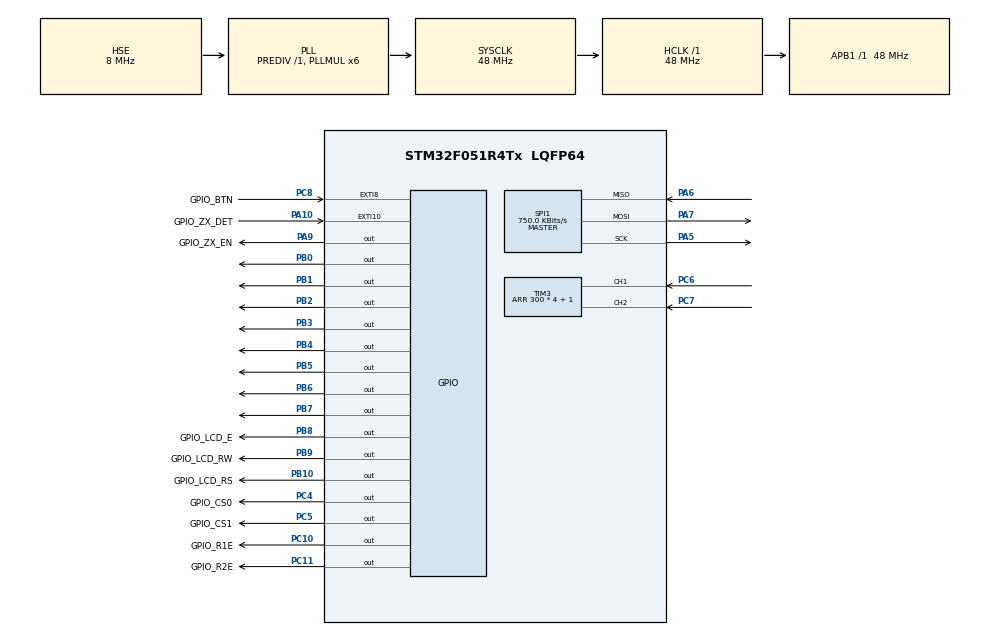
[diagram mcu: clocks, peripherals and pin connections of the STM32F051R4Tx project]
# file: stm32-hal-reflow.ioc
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Mcu.Family=STM32F0
Mcu.Name=STM32F051R4Tx
Mcu.Package=LQFP64
NVIC.EXTI4_15_IRQn=true\:3\:0\:true\:true\:true\:3\:true\:true\:true
NVIC.SPI1_IRQn=true\:1\:0\:true\:true\:true\:2\:true\:true\:true
NVIC.TIM14_IRQn=true\:0\:0\:false\:true\:true\:1\:true\:true\:true
NVIC.TIM17_IRQn=true\:2\:0\:true\:true\:true\:4\:true\:true\:true
NVIC.TIM6_DAC_IRQn=true\:0\:0\:false\:false\:true\:true\:true\:true
PA10.GPIO_Label=GPIO_ZX_DET
PA10.Signal=GPXTI10
PA13.Mode=Serial_Wire
PA13.Signal=SYS_SWDIO
PA14.Mode=Serial_Wire
PA14.Signal=SYS_SWCLK
PA5.GPIO_Speed=GPIO_SPEED_FREQ_LOW
PA5.Mode=Full_Duplex_Master
PA5.Signal=SPI1_SCK
PA6.GPIO_Speed=GPIO_SPEED_FREQ_LOW
PA6.Mode=Full_Duplex_Master
PA6.Signal=SPI1_MISO
PA7.GPIO_Speed=GPIO_SPEED_FREQ_LOW
PA7.Mode=Full_Duplex_Master
PA7.Signal=SPI1_MOSI
PA9.GPIO_Label=GPIO_ZX_EN
PA9.PinState=GPIO_PIN_SET
PA9.Signal=GPIO_Output
PB0.Signal=GPIO_Output
PB1.Signal=GPIO_Output
PB10.GPIO_Label=GPIO_LCD_RS
PB10.Signal=GPIO_Output
PB2.Signal=GPIO_Output
PB3.Signal=GPIO_Output
PB4.Signal=GPIO_Output
PB5.Signal=GPIO_Output
PB6.Signal=GPIO_Output
PB7.Signal=GPIO_Output
PB8.GPIO_Label=GPIO_LCD_E
PB8.Signal=GPIO_Output
PB9.GPIO_Label=GPIO_LCD_RW
PB9.Signal=GPIO_Output
PC10.GPIO_Label=GPIO_R1E
PC10.Signal=GPIO_Output
PC11.GPIO_Label=GPIO_R2E
PC11.Signal=GPIO_Output
PC4.GPIO_Label=GPIO_CS0
PC4.Signal=GPIO_Output
PC5.GPIO_Label=GPIO_CS1
PC5.Signal=GPIO_Output
PC6.Signal=S_TIM3_CH1
PC7.Signal=S_TIM3_CH2
PC8.GPIO_Label=GPIO_BTN
PC8.Signal=GPXTI8
PF0-OSC_IN.Mode=HSE-External-Oscillator
PF0-OSC_IN.Signal=RCC_OSC_IN
PF1-OSC_OUT.Mode=HSE-External-Oscillator
PF1-OSC_OUT.Signal=RCC_OSC_OUT
ProjectManager.HeapSize=0x200
ProjectManager.StackSize=0x400
ProjectManager.TargetToolchain=Makefile
RCC.AHBFreq_Value=48000000
RCC.APB1Freq_Value=48000000
RCC.APB1TimFreq_Value=48000000
RCC.HCLKFreq_Value=48000000
RCC.PLLMUL=RCC_PLL_MUL6
RCC.PLLSourceVirtual=RCC_PLLSOURCE_HSE
RCC.SYSCLKFreq_VALUE=48000000
RCC.SYSCLKSource=RCC_SYSCLKSOURCE_PLLCLK
SH.S_TIM3_CH1.0=TIM3_CH1,Encoder_Interface
SH.S_TIM3_CH2.0=TIM3_CH2,Encoder_Interface
SPI1.BaudRatePrescaler=SPI_BAUDRATEPRESCALER_64
SPI1.CalculateBaudRate=750.0 KBits/s
SPI1.DataSize=SPI_DATASIZE_8BIT
SPI1.Direction=SPI_DIRECTION_2LINES
SPI1.Mode=SPI_MODE_MASTER
SPI1.NSSPMode=SPI_NSS_PULSE_DISABLE
SPI1.VirtualType=VM_MASTER
TIM14.Period=100 - 1
TIM14.Prescaler=4800 - 1
TIM17.Period=47999
TIM17.Prescaler=999
TIM3.AutoReloadPreload=TIM_AUTORELOAD_PRELOAD_ENABLE
TIM3.EncoderMode=TIM_ENCODERMODE_TI12
TIM3.IC1Filter=10
TIM3.IC1Polarity=TIM_ICPOLARITY_FALLING
TIM3.IC1Prescaler=TIM_ICPSC_DIV1
TIM3.IC2Filter=10
TIM3.IC2Polarity=TIM_ICPOLARITY_FALLING
TIM3.IC2Prescaler=TIM_ICPSC_DIV1
TIM3.Period=300 * 4 + 1
TIM3.TIM_MasterSlaveMode=TIM_MASTERSLAVEMODE_DISABLE
TIM6.AutoReloadPreload=TIM_AUTORELOAD_PRELOAD_ENABLE
TIM6.Period=19999
TIM6.Prescaler=47
VP_TIM14_VS_ClockSourceINT.Mode=Enable_Timer
VP_TIM17_VS_ClockSourceINT.Mode=Enable_Timer
VP_TIM6_VS_ClockSourceINT.Mode=Enable_Timer
board=custom

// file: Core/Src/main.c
/* USER CODE BEGIN Header */
/**
 ******************************************************************************
 * @file           : main.c
 * @brief          : Main program body
 ******************************************************************************
 * @attention
 *
 * <h2><center>&copy; Copyright (c) 2021 STMicroelectronics.
 * All rights reserved.</center></h2>
 *
 * This software component is licensed by ST under BSD 3-Clause license,
 * the "License"; You may not use this file except in compliance with the
 * License. You may obtain a copy of the License at:
 *                        opensource.org/licenses/BSD-3-Clause
 *
 ******************************************************************************
 */
/* USER CODE END Header */
#include "main.h"

/* USER CODE BEGIN Includes */
#include "lcd.h"
#include <stdio.h>
#include <string.h>

/* USER CODE END Includes */

 SPI_HandleTypeDef hspi1;

TIM_HandleTypeDef htim3;
TIM_HandleTypeDef htim6;
TIM_HandleTypeDef htim14;
TIM_HandleTypeDef htim17;

/* USER CODE BEGIN PV */
static uint8_t     tcSPIData[4]; // 32-bits
static LCD_TypeDef LCD = {0};

// static uint8_t              TestState = 0x00;
static uint8_t  OvenControlEnable = 0x00;
static int16_t  OvenTemperature   = 0x00;
static int16_t  SetPoint = 0; // No temperature target in idle state
static uint8_t  HeatingActive   = 0; // Mirror of last commanded SSR state
static int16_t  DutyAccumulator = 0; // Bresenham accumulator (0..ZX_COUNT_MAX)
static volatile uint8_t ZxFallbackActive = 0; // 1 if ZX detector has stopped firing

static uint8_t             DoReflow = 0;
static uint16_t            ReflowTime  = 0;
static uint8_t             ReflowIndex = 0;
static ReflowState_TypeDef ReflowState = REFLOW_STATE_RAMPING;
static uint16_t            HoldTimer   = 0;
static uint8_t             SystemReady =
    0; // Flag to indicate system is ready for operation
static uint8_t WaitingForStartTemp =
    0; // Flag to indicate waiting for start temperature

static uint8_t  SelectedProfileIndex = 0;   // Index user can change while idle
static uint8_t  ActiveProfileIndex   = 0;   // Snapshot taken at button press
static uint16_t EncoderPrev          = 0;   // Last debounced encoder count (0..300)
static uint8_t  EditingCustomPeak    = 0;   // 1 while user is dialing in custom peak
static uint16_t CustomPeakTemp       = 235; // °C, range CUSTOM_PEAK_MIN..MAX

// Lead-free profile (SnAgCu, e.g. SMD291SNL / NC191SNL50)
// http://www.chipquik.com/datasheets/NC191SNL50.pdf
static const ReflowProfile_TypeDef ReflowPhases_PbFree[] = {
    // Preheat ramp: 50°C to 150°C over 90 seconds
    {.StartTemperature  = 50,
     .TargetTemperature = 150,
     .RampTimeSeconds   = 90,
     .HoldTimeSeconds   = 0,
     .Type              = REFLOW_PHASE_RAMP},
    // Preheat soak: Hold at 150°C for 60 seconds
    {.StartTemperature  = 150,
     .TargetTemperature = 150,
     .RampTimeSeconds   = 0,
     .HoldTimeSeconds   = 60,
     .Type              = REFLOW_PHASE_HOLD},
    // Ramp to reflow: 150°C to 217°C over 30 seconds
    {.StartTemperature  = 150,
     .TargetTemperature = 217,
     .RampTimeSeconds   = 30,
     .HoldTimeSeconds   = 0,
     .Type              = REFLOW_PHASE_RAMP},
    // Reflow peak: 217°C to 249°C over 30 seconds, hold for 10 seconds
    {.StartTemperature  = 217,
     .TargetTemperature = 249,
     .RampTimeSeconds   = 30,
     .HoldTimeSeconds   = 10,
     .Type              = REFLOW_PHASE_RAMP},
    // Cooling: Let natural cooling take over
    {.StartTemperature  = 249,
     .TargetTemperature = 50,
     .RampTimeSeconds   = 0,
     .HoldTimeSeconds   = 0,
     .Type              = REFLOW_PHASE_RAMP}};

// Leaded profile (Sn63/Pb37, e.g. SMD291AX)
// X-axis times: 30s -> 100°C, 120s -> 150°C, 150s -> 183°C, 210s -> 235°C
// (hold 10s), cool by 240s.
static const ReflowProfile_TypeDef ReflowPhases_Leaded[] = {
    // Preheat: 50°C to 100°C over 30 seconds
    {.StartTemperature  = 50,
     .TargetTemperature = 100,
     .RampTimeSeconds   = 30,
     .HoldTimeSeconds   = 0,
     .Type              = REFLOW_PHASE_RAMP},
    // Soak ramp: 100°C to 150°C over 90 seconds
    {.StartTemperature  = 100,
     .TargetTemperature = 150,
     .RampTimeSeconds   = 90,
     .HoldTimeSeconds   = 0,
     .Type              = REFLOW_PHASE_RAMP},
    // Activation: 150°C to 183°C over 30 seconds (crosses Sn63/Pb37 eutectic)
    {.StartTemperature  = 150,
     .TargetTemperature = 183,
     .RampTimeSeconds   = 30,
     .HoldTimeSeconds   = 0,
     .Type              = REFLOW_PHASE_RAMP},
    // Reflow peak: 183°C to 235°C over 60 seconds, hold for 10 seconds
    {.StartTemperature  = 183,
     .TargetTemperature = 235,
     .RampTimeSeconds   = 60,
     .HoldTimeSeconds   = 10,
     .Type              = REFLOW_PHASE_RAMP},
    // Cooling: Let natural cooling take over
    {.StartTemperature  = 235,
     .TargetTemperature = 50,
     .RampTimeSeconds   = 0,
     .HoldTimeSeconds   = 0,
     .Type              = REFLOW_PHASE_RAMP}};

// Custom profile: leaded-style soak (50->100->150°C, 30s + 90s) plus a
// user-selectable peak between CUSTOM_PEAK_MIN..MAX. Held in BSS because the
// peak segment is regenerated each time reflow starts.
#define CUSTOM_PEAK_MIN  150
#define CUSTOM_PEAK_MAX  300
#define CUSTOM_PEAK_STEP 5
static ReflowProfile_TypeDef ReflowPhases_Custom[4];

static const ReflowProfileSet_TypeDef ReflowProfiles[] = {
    {.Name       = "Pb-Free",
     .Phases     = ReflowPhases_PbFree,
     .PhaseCount = sizeof(ReflowPhases_PbFree) / sizeof(ReflowPhases_PbFree[0])},
    {.Name       = "Leaded",
     .Phases     = ReflowPhases_Leaded,
     .PhaseCount = sizeof(ReflowPhases_Leaded) / sizeof(ReflowPhases_Leaded[0])},
    {.Name       = "Custom",
     .Phases     = ReflowPhases_Custom,
     .PhaseCount = sizeof(ReflowPhases_Custom) / sizeof(ReflowPhases_Custom[0])},
};
#define NUM_REFLOW_PROFILES (sizeof(ReflowProfiles) / sizeof(ReflowProfiles[0]))
#define CUSTOM_PROFILE_INDEX 2

/* USER CODE END PV */

void SystemClock_Config(void);
static void MX_GPIO_Init(void);
static void MX_SPI1_Init(void);
static void MX_TIM14_Init(void);
static void MX_TIM3_Init(void);
static void MX_TIM17_Init(void);
static void MX_TIM6_Init(void);
static void MX_NVIC_Init(void);
/* USER CODE BEGIN PFP */
static void MX_LCD_1_Init(void);
/* USER CODE END PFP */

/* USER CODE BEGIN 0 */
/*
static uint32_t Enc_GetValue(TIM_HandleTypeDef *htim) {
  uint32_t count = (__HAL_TIM_GET_COUNTER(htim) >> 2);
  if (count > 300)
    count = 300;

  return 300 - count;
}
*/
static int16_t CalculateLinearSetPoint(int16_t beginTemp, int16_t endTemp,
                                       uint16_t totalSeconds,
                                       uint16_t currentSecond) {
  if (totalSeconds == 0 || beginTemp == endTemp) {
    return endTemp; // No ramp needed
  }

  // Integer linear interpolation: y = mx + b
  // Use 32-bit intermediate calculation to prevent overflow
  int32_t tempDiff    = endTemp - beginTemp;
  int32_t newSetPoint = beginTemp + (tempDiff * currentSecond) / totalSeconds;

  return (int16_t)newSetPoint;
}

static uint8_t IsTemperatureWithinTolerance(int16_t current, int16_t target) {
  int16_t diff = current - target;
  if (diff < 0)
    diff = -diff; // Absolute value
  return (diff <= TEMP_TOLERANCE);
}

// Per-cycle heater control: feedforward (predicts steady-state duty) plus a
// small proportional correction, applied via Bresenham PDM so the relays go
// ON exactly `desired` times per ZX_COUNT_MAX cycles. Called from the ZX EXTI
// for normal operation and from the TIM6 watchdog ISR if the ZX signal dies.
static void DriveHeaterCycle(void) {
  if (OvenControlEnable) {
    int16_t error = SetPoint - OvenTemperature;
    int16_t ff = (SetPoint > FF_BASE_TEMP)
                     ? (int16_t)(((SetPoint - FF_BASE_TEMP) * FF_NUM) / FF_DEN)
                     : 0;
    int16_t prop    = (int16_t)((error * KP_NUM) / KP_DEN);
    int16_t desired = ff + prop;
    if (desired < 0)
      desired = 0;
    if (desired > ZX_COUNT_MAX)
      desired = ZX_COUNT_MAX;

    DutyAccumulator += desired;
    if (DutyAccumulator >= ZX_COUNT_MAX) {
      DutyAccumulator -= ZX_COUNT_MAX;
      HeatingActive = 1;
    } else {
      HeatingActive = 0;
    }
  } else {
    HeatingActive   = 0;
    DutyAccumulator = 0;
  }
  GPIO_PinState st = HeatingActive ? GPIO_PIN_SET : GPIO_PIN_RESET;
  HAL_GPIO_WritePin(GPIO_R1E_GPIO_Port, GPIO_R1E_Pin, st);
  HAL_GPIO_WritePin(GPIO_R2E_GPIO_Port, GPIO_R2E_Pin, st);
}

// Regenerates the custom-profile array for a given peak. Soak segment is
// fixed (matches leaded paste behavior); peak ramp uses ~1°C/s slope.
static void BuildCustomProfile(uint16_t peak) {
  ReflowPhases_Custom[0] = (ReflowProfile_TypeDef){
      .StartTemperature  = 50,
      .TargetTemperature = 100,
      .RampTimeSeconds   = 30,
      .HoldTimeSeconds   = 0,
      .Type              = REFLOW_PHASE_RAMP};
  ReflowPhases_Custom[1] = (ReflowProfile_TypeDef){
      .StartTemperature  = 100,
      .TargetTemperature = 150,
      .RampTimeSeconds   = 90,
      .HoldTimeSeconds   = 0,
      .Type              = REFLOW_PHASE_RAMP};
  ReflowPhases_Custom[2] = (ReflowProfile_TypeDef){
      .StartTemperature  = 150,
      .TargetTemperature = (int16_t)peak,
      .RampTimeSeconds   = (uint16_t)(peak - 150), // 1°C/s slope
      .HoldTimeSeconds   = 10,
      .Type              = REFLOW_PHASE_RAMP};
  ReflowPhases_Custom[3] = (ReflowProfile_TypeDef){
      .StartTemperature  = (int16_t)peak,
      .TargetTemperature = 50,
      .RampTimeSeconds   = 0,
      .HoldTimeSeconds   = 0,
      .Type              = REFLOW_PHASE_RAMP};
}
void HAL_GPIO_EXTI_Callback(uint16_t GPIO_Pin) {
  if (GPIO_Pin == GPIO_BTN_Pin) {
    // Only process button if system is ready (prevents spurious triggers on
    // boot)
    if (!SystemReady) {
      return;
    }
    //__HAL_TIM_SET_COUNTER(&htim3, 0);
    // TemperatureSetPoint = (float32_t)Enc_GetValue(&htim3);
    /*
    switch (TestState) {
    case 0x00:
      HAL_GPIO_WritePin(GPIO_R1E_GPIO_Port, GPIO_R1E_Pin, GPIO_PIN_RESET);
      HAL_GPIO_WritePin(GPIO_R2E_GPIO_Port, GPIO_R2E_Pin, GPIO_PIN_RESET);
      TestState = 0x01;
      break;
    case 0x01:
      HAL_GPIO_WritePin(GPIO_R1E_GPIO_Port, GPIO_R1E_Pin, GPIO_PIN_RESET);
      HAL_GPIO_WritePin(GPIO_R2E_GPIO_Port, GPIO_R2E_Pin, GPIO_PIN_SET);
      TestState = 0x02;
      break;
    case 0x02:
      HAL_GPIO_WritePin(GPIO_R1E_GPIO_Port, GPIO_R1E_Pin, GPIO_PIN_SET);
      HAL_GPIO_WritePin(GPIO_R2E_GPIO_Port, GPIO_R2E_Pin, GPIO_PIN_RESET);
      TestState = 0x03;
      break;
    case 0x03:
      HAL_GPIO_WritePin(GPIO_R1E_GPIO_Port, GPIO_R1E_Pin, GPIO_PIN_SET);
      HAL_GPIO_WritePin(GPIO_R2E_GPIO_Port, GPIO_R2E_Pin, GPIO_PIN_SET);
      TestState = 0x00;
      break;
    default:
      break;
    }
    */
    /* Toggle
     if (OvenControlEnable) {
       OvenControlEnable = 0x00;
     } else {
       OvenControlEnable = 0x01;
     }
     */
    if (DoReflow == 0) {
      // First press on Custom drops into the peak-edit screen instead of
      // starting; a subsequent press in edit mode commits and runs.
      if (SelectedProfileIndex == CUSTOM_PROFILE_INDEX && !EditingCustomPeak) {
        EditingCustomPeak = 1;
      } else {
        if (EditingCustomPeak) {
          BuildCustomProfile(CustomPeakTemp);
          EditingCustomPeak = 0;
        }
        // Start the reflow
        DoReflow          = 1;
        ActiveProfileIndex = SelectedProfileIndex; // Lock in selection for the run
        OvenControlEnable = 1;
        ReflowIndex       = 0;
        ReflowTime        = 0;
        ReflowState       = REFLOW_STATE_RAMPING;
        HoldTimer         = 0;
        DutyAccumulator   = 0; // Fresh PDM state for this run
        HeatingActive     = 0;
        WaitingForStartTemp =
            1; // Wait for start temperature before beginning profile
        HAL_TIM_Base_Start_IT(&htim17);
      }
    }
  }

  // Per-zero-cross heater control
  if (GPIO_Pin == GPIO_ZX_DET_Pin) {
    // Pet the watchdog: as long as ZX keeps firing, TIM6 never expires.
    __HAL_TIM_SET_COUNTER(&htim6, 0);
    ZxFallbackActive = 0;

    // Decode latest thermocouple temperature
    OvenTemperature =
        ((tcSPIData[0] & 0x7F) << 4) | ((tcSPIData[1] >> 4) & 0x0F);

    // Compute desired duty for THIS half-cycle and drive the relays
    DriveHeaterCycle();
  }
}
/* USER CODE END 0 */

int main(void)
{

  /* MCU Configuration--------------------------------------------------------*/

  /* Reset of all peripherals, Initializes the Flash interface and the Systick. */
  HAL_Init();

  /* Configure the system clock */
  SystemClock_Config();

  /* Initialize all configured peripherals */
  MX_GPIO_Init();
  MX_SPI1_Init();
  MX_TIM14_Init();
  MX_TIM3_Init();
  MX_TIM17_Init();
  MX_TIM6_Init();

  /* Initialize interrupts */
  MX_NVIC_Init();
  /* USER CODE BEGIN 2 */
  // === REGEN-SURVIVAL OVERRIDES ===
  // CubeMX defaults that we need to undo each regen. See "Regen survival
  // checklist" in this file's header comment.

  // 1. Re-init the button pin to FALLING edge — CubeMX keeps reverting this
  //    to RISING (PC8 has an external pull-up, so a press is a FALLING edge).
  {
    GPIO_InitTypeDef btnInit = {0};
    btnInit.Pin              = GPIO_BTN_Pin;
    btnInit.Mode             = GPIO_MODE_IT_FALLING;
    btnInit.Pull             = GPIO_NOPULL;
    HAL_GPIO_Init(GPIO_BTN_GPIO_Port, &btnInit);
  }

  // 2. Disable EXTI4_15 immediately — CubeMX adds an enable in MX_NVIC_Init,
  //    but we need it deferred until after the boot settle delay below to
  //    avoid spurious ZX/button triggers. The deferred enable happens further
  //    down once SystemReady=1.
  HAL_NVIC_DisableIRQ(EXTI4_15_IRQn);

  MX_LCD_1_Init();

  // Display startup splash screen
  LCD_PositionTypeDef splashRow1 = {.Column = 0, .Row = LCD_ROW_1};
  LCD_PositionTypeDef splashRow2 = {.Column = 0, .Row = LCD_ROW_2};
  char                brandingMsg[21];
  char                bootingMsg[21];

  // Use memcpy to avoid null terminator issues
  memcpy(brandingMsg, " de Byl Reflow Oven ",
         20); // Centered: 1 space + 18 chars + 1 space
  memcpy(bootingMsg, "     Booting...     ",
         20);             // Centered: 5 spaces + 10 chars + 5 spaces
  brandingMsg[20] = '\0'; // Null terminate for safety
  bootingMsg[20]  = '\0';

  LCD_SetCursorPosition(&LCD, splashRow1);
  LCD_WriteString(&LCD, brandingMsg, 20);
  LCD_SetCursorPosition(&LCD, splashRow2);
  LCD_WriteString(&LCD, bootingMsg, 20);

  /* Allow hardware to settle before enabling EXTI interrupts */
  HAL_Delay(1000); // Increased delay for better power supply stabilization

  /* Clear any pending EXTI interrupts that may have occurred during init */
  __HAL_GPIO_EXTI_CLEAR_IT(GPIO_BTN_Pin);
  __HAL_GPIO_EXTI_CLEAR_IT(GPIO_ZX_DET_Pin);

  /* Enable EXTI interrupts after settling delay */
  HAL_NVIC_EnableIRQ(EXTI4_15_IRQn);

  /* Additional delay to ensure button is stable */
  HAL_Delay(500);

  /* Clear interrupts again after enabling */
  __HAL_GPIO_EXTI_CLEAR_IT(GPIO_BTN_Pin);
  __HAL_GPIO_EXTI_CLEAR_IT(GPIO_ZX_DET_Pin);

  /* Start the ZX-watchdog timer. Pet via ZX EXTI; if it ever expires, the
   * TIM6 ISR takes over the SSR control loop. */
  __HAL_TIM_SET_COUNTER(&htim6, 0);
  __HAL_TIM_CLEAR_FLAG(&htim6, TIM_FLAG_UPDATE);
  HAL_TIM_Base_Start_IT(&htim6);

  /* Mark system as ready for button input */
  SystemReady = 1;

  char lcdRow1[21];        // 20 chars + null terminator
  char lcdRow2[21];        // 20 chars + null terminator
  char prevRow1[21] = {0}; // Last written contents; zero-init forces first draw
  char prevRow2[21] = {0};

  LCD_PositionTypeDef row1Pos = {.Column = 0, .Row = LCD_ROW_1};
  LCD_PositionTypeDef row2Pos = {.Column = 0, .Row = LCD_ROW_2};

  // Anchor encoder reading to current physical position so first idle poll
  // doesn't see a phantom delta from boot-time CNT initialization.
  EncoderPrev = (uint16_t)(__HAL_TIM_GET_COUNTER(&htim3) >> 2);
  /* USER CODE END 2 */

  /* Infinite loop */
  while (1) {

    /* USER CODE BEGIN 3 */
    // Encoder polling. TIM3 is in encoder mode TI12 (4 counts per detent) with
    // period 1201, so >> 2 yields a 0..300 detent index that wraps at the
    // boundaries. While idle, encoder either cycles the profile selection or
    // adjusts the custom-profile peak temperature, depending on edit mode.
    uint16_t encNow = (uint16_t)(__HAL_TIM_GET_COUNTER(&htim3) >> 2);
    if (!DoReflow) {
      // Inverted so CW = increment (matches knob orientation on the panel)
      int16_t delta = (int16_t)EncoderPrev - (int16_t)encNow;
      // Resolve wrap-around at the 0/300 boundary
      if (delta > 150)
        delta -= 301;
      if (delta < -150)
        delta += 301;
      if (delta != 0) {
        if (EditingCustomPeak) {
          int32_t newPeak =
              (int32_t)CustomPeakTemp + (int32_t)delta * CUSTOM_PEAK_STEP;
          if (newPeak < CUSTOM_PEAK_MIN)
            newPeak = CUSTOM_PEAK_MIN;
          if (newPeak > CUSTOM_PEAK_MAX)
            newPeak = CUSTOM_PEAK_MAX;
          CustomPeakTemp = (uint16_t)newPeak;
        } else {
          int16_t idx = (int16_t)SelectedProfileIndex + delta;
          idx = ((idx % (int16_t)NUM_REFLOW_PROFILES) +
                 (int16_t)NUM_REFLOW_PROFILES) %
                (int16_t)NUM_REFLOW_PROFILES;
          SelectedProfileIndex = (uint8_t)idx;
        }
        EncoderPrev = encNow;
      }
    } else {
      // Re-anchor while running so post-run state matches physical knob position
      EncoderPrev = encNow;
    }

    const uint8_t totalPhases = ReflowProfiles[ActiveProfileIndex].PhaseCount;

    // First row: "Reflow: OFF/ON" with right-aligned temperature
    const char *reflowState = DoReflow ? "ON " : "OFF";
    // Clamp temperature to display range to prevent truncation warnings
    int displayTemp = OvenTemperature;
    if (displayTemp < 0)
      displayTemp = 0;
    if (displayTemp > 999)
      displayTemp = 999;
    // Indicator slot between colon and state:
    //   ' ' idle / not heating
    //   '*' heating commanded
    //   '?' ZX fallback active, idle
    //   '!' ZX fallback active, heating
    char heatChar = ZxFallbackActive ? (HeatingActive ? '!' : '?')
                                     : (HeatingActive ? '*' : ' ');
    snprintf(lcdRow1, sizeof(lcdRow1), "Reflow:%c%-7s%4dC", heatChar,
             reflowState, displayTemp);
    if (memcmp(lcdRow1, prevRow1, 20) != 0) {
      LCD_SetCursorPosition(&LCD, row1Pos);
      LCD_WriteString(&LCD, lcdRow1, 20);
      memcpy(prevRow1, lcdRow1, 20);
    }

    // Second row: Phase name, segment progress, and right-aligned setpoint
    const char *phaseName;
    char        segmentStr[8] = ""; // For "[x/y]" or empty when idle

    if (!DoReflow) {
      phaseName = "IDLE";
      // segmentStr remains empty for idle state
    } else if (WaitingForStartTemp) {
      phaseName = "WAIT";
      snprintf(segmentStr, sizeof(segmentStr), "[%d/%d]", ReflowIndex + 1,
               totalPhases);
    } else if (ReflowState == REFLOW_STATE_RAMPING) {
      phaseName = "RAMP";
      snprintf(segmentStr, sizeof(segmentStr), "[%d/%d]", ReflowIndex + 1,
               totalPhases);
    } else if (ReflowState == REFLOW_STATE_HOLDING) {
      phaseName = "HOLD";
      snprintf(segmentStr, sizeof(segmentStr), "[%d/%d]", ReflowIndex + 1,
               totalPhases);
    } else {
      phaseName = "IDLE";
    }

    // Format row 2 based on state
    if (!DoReflow) {
      if (EditingCustomPeak) {
        // Edit screen: encoder dials peak temp, button press starts reflow.
        snprintf(lcdRow2, sizeof(lcdRow2), "Peak: %3dC  PRESS GO",
                 (int)CustomPeakTemp);
      } else {
        // IDLE state: Show currently selected profile name
        snprintf(lcdRow2, sizeof(lcdRow2), "Sel: %-15s",
                 ReflowProfiles[SelectedProfileIndex].Name);
      }
    } else {
      // Active reflow: Show "PHASE [x/y]      123C"
      int phaseLen = strlen(phaseName) + strlen(segmentStr);
      int padding  = 16 - phaseLen; // 20 total - 4 for temp = 16 available
      if (padding < 0)
        padding = 0;
      if (padding > 15)
        padding = 15; // Limit padding to prevent buffer overflow

      // Clamp setpoint temperature for display
      int displaySetpoint = SetPoint;
      if (displaySetpoint < 0)
        displaySetpoint = 0;
      if (displaySetpoint > 999)
        displaySetpoint = 999;

      // Ensure the format string never exceeds 20 characters
      int written = snprintf(lcdRow2, sizeof(lcdRow2), "%s%s%*s%3dC", phaseName,
                             segmentStr, padding, "", displaySetpoint);
      if (written >= sizeof(lcdRow2)) {
        // Fallback: truncate to exactly 20 characters
        snprintf(lcdRow2, sizeof(lcdRow2), "%-15s%4dC", phaseName,
                 displaySetpoint);
      }
    }

    if (memcmp(lcdRow2, prevRow2, 20) != 0) {
      LCD_SetCursorPosition(&LCD, row2Pos);
      LCD_WriteString(&LCD, lcdRow2, 20);
      memcpy(prevRow2, lcdRow2, 20);
    }
    HAL_Delay(20); // 50 Hz poll for snappy encoder; renders only on row change
  }
  /* USER CODE END 3 */
}

void SystemClock_Config(void)
{
  RCC_OscInitTypeDef RCC_OscInitStruct = {0};
  RCC_ClkInitTypeDef RCC_ClkInitStruct = {0};

  /** Initializes the RCC Oscillators according to the specified parameters
  * in the RCC_OscInitTypeDef structure.
  */
  RCC_OscInitStruct.OscillatorType = RCC_OSCILLATORTYPE_HSE;
  RCC_OscInitStruct.HSEState = RCC_HSE_ON;
  RCC_OscInitStruct.PLL.PLLState = RCC_PLL_ON;
  RCC_OscInitStruct.PLL.PLLSource = RCC_PLLSOURCE_HSE;
  RCC_OscInitStruct.PLL.PLLMUL = RCC_PLL_MUL6;
  RCC_OscInitStruct.PLL.PREDIV = RCC_PREDIV_DIV1;
  if (HAL_RCC_OscConfig(&RCC_OscInitStruct) != HAL_OK)
  {
    Error_Handler();
  }

  /** Initializes the CPU, AHB and APB buses clocks
  */
  RCC_ClkInitStruct.ClockType = RCC_CLOCKTYPE_HCLK|RCC_CLOCKTYPE_SYSCLK
                              |RCC_CLOCKTYPE_PCLK1;
  RCC_ClkInitStruct.SYSCLKSource = RCC_SYSCLKSOURCE_PLLCLK;
  RCC_ClkInitStruct.AHBCLKDivider = RCC_SYSCLK_DIV1;
  RCC_ClkInitStruct.APB1CLKDivider = RCC_HCLK_DIV1;

  if (HAL_RCC_ClockConfig(&RCC_ClkInitStruct, FLASH_LATENCY_1) != HAL_OK)
  {
    Error_Handler();
  }
}

/**
  * @brief NVIC Configuration.
  * @retval None
  */
static void MX_NVIC_Init(void)
{
  /* TIM14_IRQn interrupt configuration */
  HAL_NVIC_SetPriority(TIM14_IRQn, 0, 0);
  HAL_NVIC_EnableIRQ(TIM14_IRQn);
  /* SPI1_IRQn interrupt configuration */
  HAL_NVIC_SetPriority(SPI1_IRQn, 1, 0);
  HAL_NVIC_EnableIRQ(SPI1_IRQn);
  /* EXTI4_15_IRQn interrupt configuration */
  HAL_NVIC_SetPriority(EXTI4_15_IRQn, 3, 0);
  HAL_NVIC_EnableIRQ(EXTI4_15_IRQn);
  /* TIM17_IRQn interrupt configuration */
  HAL_NVIC_SetPriority(TIM17_IRQn, 2, 0);
  HAL_NVIC_EnableIRQ(TIM17_IRQn);
}

static void MX_SPI1_Init(void)
{

  /* SPI1 parameter configuration*/
  hspi1.Instance = SPI1;
  hspi1.Init.Mode = SPI_MODE_MASTER;
  hspi1.Init.Direction = SPI_DIRECTION_2LINES;
  hspi1.Init.DataSize = SPI_DATASIZE_8BIT;
  hspi1.Init.CLKPolarity = SPI_POLARITY_LOW;
  hspi1.Init.CLKPhase = SPI_PHASE_1EDGE;
  hspi1.Init.NSS = SPI_NSS_SOFT;
  hspi1.Init.BaudRatePrescaler = SPI_BAUDRATEPRESCALER_64;
  hspi1.Init.FirstBit = SPI_FIRSTBIT_MSB;
  hspi1.Init.TIMode = SPI_TIMODE_DISABLE;
  hspi1.Init.CRCCalculation = SPI_CRCCALCULATION_DISABLE;
  hspi1.Init.CRCPolynomial = 7;
  hspi1.Init.CRCLength = SPI_CRC_LENGTH_DATASIZE;
  hspi1.Init.NSSPMode = SPI_NSS_PULSE_DISABLE;
  if (HAL_SPI_Init(&hspi1) != HAL_OK)
  {
    Error_Handler();
  }

}

static void MX_TIM3_Init(void)
{

  TIM_Encoder_InitTypeDef sConfig = {0};
  TIM_MasterConfigTypeDef sMasterConfig = {0};

  htim3.Instance = TIM3;
  htim3.Init.Prescaler = 0;
  htim3.Init.CounterMode = TIM_COUNTERMODE_UP;
  htim3.Init.Period = 300 * 4 + 1;
  htim3.Init.ClockDivision = TIM_CLOCKDIVISION_DIV1;
  htim3.Init.AutoReloadPreload = TIM_AUTORELOAD_PRELOAD_ENABLE;
  sConfig.EncoderMode = TIM_ENCODERMODE_TI12;
  sConfig.IC1Polarity = TIM_ICPOLARITY_FALLING;
  sConfig.IC1Selection = TIM_ICSELECTION_DIRECTTI;
  sConfig.IC1Prescaler = TIM_ICPSC_DIV1;
  sConfig.IC1Filter = 10;
  sConfig.IC2Polarity = TIM_ICPOLARITY_FALLING;
  sConfig.IC2Selection = TIM_ICSELECTION_DIRECTTI;
  sConfig.IC2Prescaler = TIM_ICPSC_DIV1;
  sConfig.IC2Filter = 10;
  if (HAL_TIM_Encoder_Init(&htim3, &sConfig) != HAL_OK)
  {
    Error_Handler();
  }
  sMasterConfig.MasterOutputTrigger = TIM_TRGO_RESET;
  sMasterConfig.MasterSlaveMode = TIM_MASTERSLAVEMODE_DISABLE;
  if (HAL_TIMEx_MasterConfigSynchronization(&htim3, &sMasterConfig) != HAL_OK)
  {
    Error_Handler();
  }
  /* USER CODE BEGIN TIM3_Init 2 */
  __HAL_TIM_SET_COUNTER(&htim3, htim3.Init.Period - 1);
  if (HAL_TIM_Encoder_Start(&htim3, TIM_CHANNEL_ALL) != HAL_OK) {
    Error_Handler();
  }
  /* USER CODE END TIM3_Init 2 */

}

static void MX_TIM6_Init(void)
{

  TIM_MasterConfigTypeDef sMasterConfig = {0};

  htim6.Instance = TIM6;
  htim6.Init.Prescaler = 47;
  htim6.Init.CounterMode = TIM_COUNTERMODE_UP;
  htim6.Init.Period = 19999;
  htim6.Init.AutoReloadPreload = TIM_AUTORELOAD_PRELOAD_ENABLE;
  if (HAL_TIM_Base_Init(&htim6) != HAL_OK)
  {
    Error_Handler();
  }
  sMasterConfig.MasterOutputTrigger = TIM_TRGO_RESET;
  sMasterConfig.MasterSlaveMode = TIM_MASTERSLAVEMODE_DISABLE;
  if (HAL_TIMEx_MasterConfigSynchronization(&htim6, &sMasterConfig) != HAL_OK)
  {
    Error_Handler();
  }

}

static void MX_TIM14_Init(void)
{

  htim14.Instance = TIM14;
  htim14.Init.Prescaler = 4800 - 1;
  htim14.Init.CounterMode = TIM_COUNTERMODE_UP;
  htim14.Init.Period = 100 - 1;
  htim14.Init.ClockDivision = TIM_CLOCKDIVISION_DIV1;
  htim14.Init.AutoReloadPreload = TIM_AUTORELOAD_PRELOAD_DISABLE;
  if (HAL_TIM_Base_Init(&htim14) != HAL_OK)
  {
    Error_Handler();
  }
  /* USER CODE BEGIN TIM14_Init 2 */
  if (HAL_TIM_Base_Start_IT(&htim14) != HAL_OK) {
    Error_Handler();
  }

  /* USER CODE END TIM14_Init 2 */

}

static void MX_TIM17_Init(void)
{

  htim17.Instance = TIM17;
  htim17.Init.Prescaler = 999;
  htim17.Init.CounterMode = TIM_COUNTERMODE_UP;
  htim17.Init.Period = 47999;
  htim17.Init.ClockDivision = TIM_CLOCKDIVISION_DIV1;
  htim17.Init.RepetitionCounter = 0;
  htim17.Init.AutoReloadPreload = TIM_AUTORELOAD_PRELOAD_DISABLE;
  if (HAL_TIM_Base_Init(&htim17) != HAL_OK)
  {
    Error_Handler();
  }

}

static void MX_GPIO_Init(void)
{
  GPIO_InitTypeDef GPIO_InitStruct = {0};

  /* GPIO Ports Clock Enable */
  __HAL_RCC_GPIOF_CLK_ENABLE();
  __HAL_RCC_GPIOA_CLK_ENABLE();
  __HAL_RCC_GPIOC_CLK_ENABLE();
  __HAL_RCC_GPIOB_CLK_ENABLE();

  /*Configure GPIO pin Output Level */
  HAL_GPIO_WritePin(GPIOC, GPIO_CS0_Pin|GPIO_CS1_Pin|GPIO_R1E_Pin|GPIO_R2E_Pin, GPIO_PIN_RESET);

  /*Configure GPIO pin Output Level */
  HAL_GPIO_WritePin(GPIOB, GPIO_PIN_0|GPIO_PIN_1|GPIO_PIN_2|GPIO_LCD_RS_Pin
                          |GPIO_PIN_3|GPIO_PIN_4|GPIO_PIN_5|GPIO_PIN_6
                          |GPIO_PIN_7|GPIO_LCD_E_Pin|GPIO_LCD_RW_Pin, GPIO_PIN_RESET);

  /*Configure GPIO pin Output Level */
  HAL_GPIO_WritePin(GPIO_ZX_EN_GPIO_Port, GPIO_ZX_EN_Pin, GPIO_PIN_SET);

  /*Configure GPIO pins : GPIO_CS0_Pin GPIO_CS1_Pin GPIO_R1E_Pin GPIO_R2E_Pin */
  GPIO_InitStruct.Pin = GPIO_CS0_Pin|GPIO_CS1_Pin|GPIO_R1E_Pin|GPIO_R2E_Pin;
  GPIO_InitStruct.Mode = GPIO_MODE_OUTPUT_PP;
  GPIO_InitStruct.Pull = GPIO_NOPULL;
  GPIO_InitStruct.Speed = GPIO_SPEED_FREQ_LOW;
  HAL_GPIO_Init(GPIOC, &GPIO_InitStruct);

  /*Configure GPIO pins : PB0 PB1 PB2 GPIO_LCD_RS_Pin
                           PB3 PB4 PB5 PB6
                           PB7 GPIO_LCD_E_Pin GPIO_LCD_RW_Pin */
  GPIO_InitStruct.Pin = GPIO_PIN_0|GPIO_PIN_1|GPIO_PIN_2|GPIO_LCD_RS_Pin
                          |GPIO_PIN_3|GPIO_PIN_4|GPIO_PIN_5|GPIO_PIN_6
                          |GPIO_PIN_7|GPIO_LCD_E_Pin|GPIO_LCD_RW_Pin;
  GPIO_InitStruct.Mode = GPIO_MODE_OUTPUT_PP;
  GPIO_InitStruct.Pull = GPIO_NOPULL;
  GPIO_InitStruct.Speed = GPIO_SPEED_FREQ_LOW;
  HAL_GPIO_Init(GPIOB, &GPIO_InitStruct);

  /*Configure GPIO pin : GPIO_BTN_Pin */
  GPIO_InitStruct.Pin = GPIO_BTN_Pin;
  GPIO_InitStruct.Mode = GPIO_MODE_IT_RISING;
  GPIO_InitStruct.Pull = GPIO_NOPULL;
  HAL_GPIO_Init(GPIO_BTN_GPIO_Port, &GPIO_InitStruct);

  /*Configure GPIO pin : GPIO_ZX_EN_Pin */
  GPIO_InitStruct.Pin = GPIO_ZX_EN_Pin;
  GPIO_InitStruct.Mode = GPIO_MODE_OUTPUT_PP;
  GPIO_InitStruct.Pull = GPIO_NOPULL;
  GPIO_InitStruct.Speed = GPIO_SPEED_FREQ_LOW;
  HAL_GPIO_Init(GPIO_ZX_EN_GPIO_Port, &GPIO_InitStruct);

  /*Configure GPIO pin : GPIO_ZX_DET_Pin */
  GPIO_InitStruct.Pin = GPIO_ZX_DET_Pin;
  GPIO_InitStruct.Mode = GPIO_MODE_IT_RISING;
  GPIO_InitStruct.Pull = GPIO_NOPULL;
  HAL_GPIO_Init(GPIO_ZX_DET_GPIO_Port, &GPIO_InitStruct);

}

/* USER CODE BEGIN 4 */

/**
 * @brief LCD 1 Initialization function
 * @param None
 * @retval None
 */
static void MX_LCD_1_Init(void) {
  LCD_InitTypeDef LCD_InitStruct = {0};

  LCD_InitStruct.Columns         = 20;
  LCD_InitStruct.Rows            = 2; // TODO(bastian): Currently unused
  LCD_InitStruct.GPIODataPort    = GPIOB;
  LCD_InitStruct.GPIORWPort      = GPIO_LCD_RW_GPIO_Port;
  LCD_InitStruct.GPIORWPin       = GPIO_LCD_RW_Pin;
  LCD_InitStruct.GPIOEnPort      = GPIO_LCD_E_GPIO_Port;
  LCD_InitStruct.GPIOEnPin       = GPIO_LCD_E_Pin;
  LCD_InitStruct.GPIORSPort      = GPIO_LCD_RS_GPIO_Port;
  LCD_InitStruct.GPIORSPin       = GPIO_LCD_RS_Pin;

  /*   LCD_InitStruct.EntryModeSet    = LCD_INST_EMS_ID | LCD_INST_EMS_S; */
  LCD_InitStruct.FunctionSet =
      LCD_INST_FSET_DL | LCD_INST_FSET_F | LCD_INST_FSET_N;
  LCD_InitStruct.DisplayMode = LCD_INST_DISP_ON;
  /*   LCD_InitStruct.CursorBehavior    = 0x00; */

  LCD_InitStruct.GPIOState        = LCD_GPIO_INVERTED;
  LCD_PositionTypeDef LCD_InitPos = {.Row = LCD_ROW_1, .Column = 0};
  LCD_InitStruct.InitPosition     = LCD_InitPos;

  LCD_Init(&LCD, &LCD_InitStruct);
}

void HAL_TIM_PeriodElapsedCallback(TIM_HandleTypeDef *htim) {
  if (htim->Instance == TIM14) {
    HAL_GPIO_WritePin(GPIO_CS1_GPIO_Port, GPIO_CS1_Pin, GPIO_PIN_RESET);
    HAL_SPI_Receive_IT(&hspi1, tcSPIData, 4);
  } else if (htim->Instance == TIM6) {
    // ZX detector hasn't fired in ~20ms — declare it dead and take over the
    // SSR control loop directly. Auto-clears as soon as ZX EXTI fires again
    // (which pets the watchdog and resets ZxFallbackActive).
    ZxFallbackActive = 1;
    DriveHeaterCycle();
  } else if (htim->Instance == TIM17) {
    if (DoReflow) {
      const ReflowProfileSet_TypeDef *activeSet =
          &ReflowProfiles[ActiveProfileIndex];

      // Check if we've completed all profile stages
      if (ReflowIndex >= activeSet->PhaseCount) {
        // Stop the reflow
        DoReflow            = 0;
        OvenControlEnable   = 0;
        ReflowIndex         = 0;
        ReflowTime          = 0;
        ReflowState         = REFLOW_STATE_RAMPING;
        HoldTimer           = 0;
        WaitingForStartTemp = 0;
        SetPoint = 0; // Return to idle state - no temperature control
        HAL_TIM_Base_Stop_IT(&htim17);
        return;
      }

      ReflowProfile_TypeDef currentProfile = activeSet->Phases[ReflowIndex];

      // Check if we need to wait for start temperature before beginning profile
      if (WaitingForStartTemp) {
        SetPoint = currentProfile.StartTemperature;

        // Only proceed when actual temperature reaches start temperature
        // (within tolerance)
        if (IsTemperatureWithinTolerance(OvenTemperature,
                                                currentProfile.StartTemperature)) {
          WaitingForStartTemp =
              0; // Start temperature reached, begin profile execution
        }
        return; // Stay in this state until start temperature is reached
      }

      switch (currentProfile.Type) {
      case REFLOW_PHASE_RAMP:
        // Handle ramping phase
        if (ReflowState == REFLOW_STATE_RAMPING) {
          if (currentProfile.RampTimeSeconds > 0) {
            // Calculate linear setpoint during ramp
            SetPoint = CalculateLinearSetPoint(currentProfile.StartTemperature,
                                                      currentProfile.TargetTemperature,
                                                      currentProfile.RampTimeSeconds,
                                                      ReflowTime);

            ReflowTime++;

            // Check if target temperature reached (prioritize actual
            // temperature over time)
            if (IsTemperatureWithinTolerance(
                    OvenTemperature, currentProfile.TargetTemperature)) {
              if (currentProfile.HoldTimeSeconds > 0) {
                // Start hold phase
                ReflowState = REFLOW_STATE_HOLDING;
                HoldTimer   = 0;
                SetPoint    = currentProfile.TargetTemperature;
              } else {
                // No hold phase, move to next profile but wait for next start
                // temperature
                ReflowIndex++;
                ReflowTime  = 0;
                ReflowState = REFLOW_STATE_RAMPING;
                WaitingForStartTemp =
                    1; // Wait for next profile's start temperature
              }
            } else if (ReflowTime >= currentProfile.RampTimeSeconds) {
              // Ramp time exceeded but target not reached - force setpoint to
              // target and wait
              SetPoint = currentProfile.TargetTemperature;
              // Stay in RAMPING state until temperature actually reaches target
              // Only then proceed to hold phase or next profile
              if (IsTemperatureWithinTolerance(
                      OvenTemperature, currentProfile.TargetTemperature)) {
                if (currentProfile.HoldTimeSeconds > 0) {
                  // Start hold phase now that temperature is reached
                  ReflowState = REFLOW_STATE_HOLDING;
                  HoldTimer   = 0;
                } else {
                  // No hold phase, move to next profile
                  ReflowIndex++;
                  ReflowTime          = 0;
                  ReflowState         = REFLOW_STATE_RAMPING;
                  WaitingForStartTemp = 1;
                }
              }
              // If temperature not reached, stay in RAMPING state with target
              // setpoint
            }
          } else {
            // Instant target (no ramp time) - wait for temperature to reach
            // target
            SetPoint = currentProfile.TargetTemperature;
            if (IsTemperatureWithinTolerance(
                    OvenTemperature, currentProfile.TargetTemperature)) {
              if (currentProfile.HoldTimeSeconds > 0) {
                ReflowState = REFLOW_STATE_HOLDING;
                HoldTimer   = 0;
              } else {
                ReflowIndex++;
                ReflowTime = 0;
                WaitingForStartTemp =
                    1; // Wait for next profile's start temperature
              }
            }
          }
        } else if (ReflowState == REFLOW_STATE_HOLDING) {
          // Hold at target temperature
          SetPoint = currentProfile.TargetTemperature;

          // Only increment hold timer if temperature is within tolerance
          if (IsTemperatureWithinTolerance(OvenTemperature,
                                                  currentProfile.TargetTemperature)) {
            HoldTimer++;
          }

          // Check if hold time completed
          if (HoldTimer >= currentProfile.HoldTimeSeconds) {
            // Move to next profile
            ReflowIndex++;
            ReflowTime  = 0;
            ReflowState = REFLOW_STATE_RAMPING;
            HoldTimer   = 0;
            WaitingForStartTemp =
                1; // Wait for next profile's start temperature
          }
        }
        break;

      case REFLOW_PHASE_HOLD:
        // Pure hold phase (no ramping) - wait for target temperature before
        // starting hold timer
        SetPoint = currentProfile.TargetTemperature;

        // Only increment hold timer if temperature is within tolerance
        if (IsTemperatureWithinTolerance(OvenTemperature,
                                                currentProfile.TargetTemperature)) {
          HoldTimer++;
        }

        // Check if hold time completed
        if (HoldTimer >= currentProfile.HoldTimeSeconds) {
          // Move to next profile
          ReflowIndex++;
          ReflowTime  = 0;
          ReflowState = REFLOW_STATE_RAMPING;
          HoldTimer   = 0;
          WaitingForStartTemp = 1; // Wait for next profile's start temperature
        }
        break;
      }
    }
  }
}

void HAL_SPI_RxCpltCallback(SPI_HandleTypeDef *hspi) {
  HAL_GPIO_WritePin(GPIO_CS1_GPIO_Port, GPIO_CS1_Pin, GPIO_PIN_SET);
}
/* USER CODE END 4 */

void Error_Handler(void)
{
  __disable_irq();
  while (1) {
  }
}

#ifdef  USE_FULL_ASSERT
/**
  * @brief  Reports the name of the source file and the source line number
  *         where the assert_param error has occurred.
  * @param  file: pointer to the source file name
  * @param  line: assert_param error line source number
  * @retval None
  */
void assert_failed(uint8_t *file, uint32_t line)
{
  /* USER CODE BEGIN 6 */
  /* User can add his own implementation to report the file name and line
     number,
     ex: printf("Wrong parameters value: file %s on line %d\r\n", file, line) */
  /* USER CODE END 6 */
}
#endif /* USE_FULL_ASSERT */
